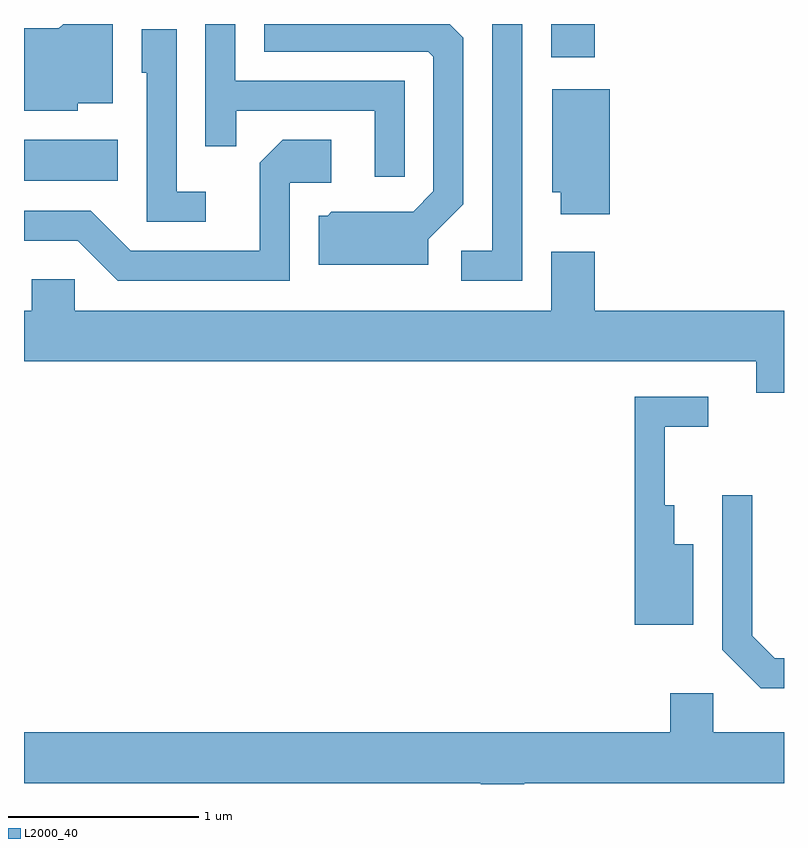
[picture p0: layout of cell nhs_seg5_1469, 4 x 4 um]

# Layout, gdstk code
import gdstk
lib = gdstk.Library(unit=1e-6, precision=1e-09)
def R(c, l, rs):  # rectangles x0, y0, x1, y1
    for r in rs: c.add(gdstk.rectangle(r[:2], r[2:], *l))
def P(c, l, *ps):  # polygons
    for p in ps: c.add(gdstk.Polygon(p, *l))
L2000_40 = (2000, 40)

nhs_seg5_1469 = lib.new_cell('nhs_seg5_1469')
R(nhs_seg5_1469, L2000_40, [(227.611,1513.246,228.104,1513.464), (230.386,1513.896,230.614,1514.072)])
P(nhs_seg5_1469, L2000_40, [(230.234,1514.072),(230.076,1514.072),(230.076,1512.879),(229.913,1512.879),(229.913,1512.721),(230.234,1512.721)],
  [(229.739,1512.939),(229.924,1513.124),(229.924,1513.999),(229.851,1514.072),(228.876,1514.072),(228.876,1513.926),(229.739,1513.926),(229.766,1513.899),(229.766,1513.192),(229.659,1513.084),(229.229,1513.084),(229.209,1513.064),(229.161,1513.064),(229.161,1512.806),(229.739,1512.806)],
  [(227.894,1513.656),(228.079,1513.656),(228.079,1514.072),(227.817,1514.072),(227.794,1514.049),(227.611,1514.049),(227.611,1513.616),(227.894,1513.616)],
  [(229.614,1513.774),(228.724,1513.774),(228.724,1514.072),(228.566,1514.072),(228.566,1513.428),(228.729,1513.428),(228.729,1513.616),(229.456,1513.616),(229.456,1513.268),(229.614,1513.268)],
  [(228.568,1513.189),(228.414,1513.189),(228.414,1514.044),(228.231,1514.044),(228.231,1513.816),(228.256,1513.816),(228.256,1513.031),(228.568,1513.031)],
  [(230.694,1513.729),(230.391,1513.729),(230.391,1513.186),(230.436,1513.186),(230.436,1513.071),(230.694,1513.071)],
  [(229.009,1513.236),(229.229,1513.236),(229.229,1513.464),(228.974,1513.464),(228.851,1513.342),(228.851,1512.879),(228.172,1512.879),(227.962,1513.089),(227.611,1513.089),(227.611,1512.931),(227.894,1512.931),(228.104,1512.721),(229.009,1512.721)],
  [(231.611,1512.564),(230.614,1512.564),(230.614,1512.874),(230.386,1512.874),(230.386,1512.564),(227.879,1512.564),(227.879,1512.729),(227.651,1512.729),(227.651,1512.564),(227.611,1512.564),(227.611,1512.296),(231.466,1512.296),(231.466,1512.131),(231.611,1512.131)],
  [(231.134,1511.334),(231.034,1511.334),(231.034,1511.539),(230.984,1511.539),(230.984,1511.951),(231.213,1511.951),(231.213,1512.109),(230.826,1512.109),(230.826,1510.911),(231.134,1510.911)],
  [(231.611,1510.734),(231.562,1510.734),(231.444,1510.852),(231.444,1511.593),(231.286,1511.593),(231.286,1510.779),(231.489,1510.576),(231.611,1510.576)],
  [(230.244,1510.076),(231.611,1510.076),(231.611,1510.344),(231.239,1510.344),(231.239,1510.549),(231.011,1510.549),(231.011,1510.344),(227.611,1510.344),(227.611,1510.076),(230.016,1510.076),(230.016,1510.072),(230.244,1510.072)])

lib.write_gds('nhs_seg5_1469.gds')
